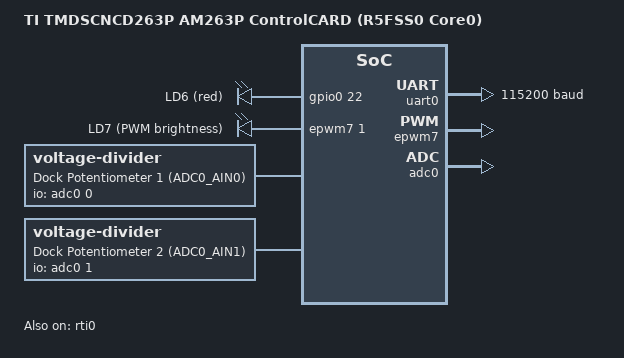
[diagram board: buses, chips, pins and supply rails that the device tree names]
/*
 * Copyright (c) 2026
 *
 * SPDX-License-Identifier: Apache-2.0
 *
 * TI TMDSCNCD263P AM263P ControlCARD, R5FSS0 Core 0.
 *
 * All pin/LED/clock facts below are verified on this ControlCARD (not carried
 * over from the LaunchPad): UART0 console reaches the XDS110 COM port, and
 * LD6/LD7 blink via the GPIO driver. See CLAUDE.md for the source citations.
 */

/dts-v1/;

#include <zephyr/dt-bindings/gpio/gpio.h>
#include <zephyr/dt-bindings/pwm/pwm.h>
#include <ti/am263p4_r5f0_0.dtsi>

/ {
	model = "TI TMDSCNCD263P AM263P ControlCARD (R5FSS0 Core0)";
	compatible = "ti,tmdscncd263p-r5f-cluster-0-core-0";

	chosen {
		zephyr,sram = &sram;
		zephyr,sram1 = &atcm;
		zephyr,console = &uart0;
		zephyr,shell-uart = &uart0;
	};

	aliases {
		led0 = &led_ld6;
		/* LD7 is driven by ePWM (see &led_ld7_pwm), not GPIO. */

		/* Built-in potentiometers on the TMDSHSECDOCK-AM263 (SPRUJ73) dock.
		 * Pot1 → ADC0_AIN0, Pot2 → ADC0_AIN1 (via HSEC).
		 * See dock headers J18/J65 (Pot1) and J22/J66 (Pot2).
		 * Default jumpers (pots through op-amps): J18 2-3 + J65 1-2,
		 * J22 2-3 + J66 1-2.
		 */
		potentiometer0 = &dock_pot0;
		potentiometer1 = &dock_pot1;
	};

	leds {
		compatible = "gpio-leds";

		led_ld6: led_0 {
			/* Active-HIGH: measured on hardware (the LEDs light when the
			 * pin is HIGH, contradicting the SPRUJ86/datasheet "active-LOW"
			 * note — confirmed by LD7's ePWM polarity + LD6/LD7 blinking in
			 * sync when LD6 was declared active-LOW). See CLAUDE.md. */
			gpios = <&gpio0 22 GPIO_ACTIVE_HIGH>;
			label = "LD6 (red)";
		};
	};

	/*
	 * Only LD7 supports hardware PWM. Its pad (EPWM7_B, 0x531000e8) routes
	 * EPWM7_B at mux mode 0 (datasheet SPRSP81 Table 5-1). LD6's pad
	 * (LIN2_TXD, 0x53100058) has NO ePWM mux option at all, so LD6 is
	 * GPIO-only — there is no led_ld6_pwm.
	 *
	 * channel 1 = EPWMxB. PWM_POLARITY_NORMAL: measured on hardware, LD7 on
	 * the EPWM7_B pin is brightness-proportional with normal polarity (duty%
	 * = LED-on time, CMP=pulse; 100% = full on, 0% = off). I.e. this pin
	 * behaves active-HIGH under ePWM, unlike LD6 as active-LOW GPIO — verified
	 * by the blink pwmdump/brightness sweep, see CLAUDE.md ePWM ledger.
	 * 250 us = 4 kHz carrier (flicker-free; 250 us x 200 MHz = 50000 < 65535).
	 */
	pwmleds {
		compatible = "pwm-leds";
		led_ld7_pwm: pwm_led_0 {
			pwms = <&epwm7 1 PWM_USEC(250) PWM_POLARITY_NORMAL>;
			label = "LD7 (PWM brightness)";
		};
	};

	/*
	 * Built-in 10 kΩ potentiometers on the TMDSHSECDOCK-AM263 dock (SPRUJ73).
	 * When the ControlCARD is plugged into the dock with the recommended
	 * jumpers, these appear as:
	 *   - dock_pot0 → ADC0_AIN0 (dock Pot1 via J18/J65)
	 *   - dock_pot1 → ADC0_AIN1 (dock Pot2 via J22/J66)
	 *
	 * See SPRUJ73 Table 2-11 and Figure 2-7 for jumper options
	 * (recommended: route pots through the on-dock OPA2837 op-amps).
	 */
	dock_pot0: dock_pot0 {
		compatible = "voltage-divider";
		io-channels = <&adc0 0>;
		io-channel-names = "DOCK_POT1";
		/* Pot wiper is a direct ADC input; 1:1 (output==full) = no scaling.
		 * Required by the voltage-divider binding; raw reads via &adc0 are
		 * what matter for bring-up. */
		output-ohms = <10000>;
		full-ohms = <10000>;
		label = "Dock Potentiometer 1 (ADC0_AIN0)";
	};

	dock_pot1: dock_pot1 {
		compatible = "voltage-divider";
		io-channels = <&adc0 1>;
		io-channel-names = "DOCK_POT2";
		output-ohms = <10000>;
		full-ohms = <10000>;
		label = "Dock Potentiometer 2 (ADC0_AIN1)";
	};
};

/*
 * UART0 -> XDS110 USB-UART console.
 *
 * Pad mux from datasheet SPRSP81 Table 5-1 (UART0 = mux mode 0 on both pads):
 *   UART0_RXD  ball A7  PADCONFIG 0x5310006c  (input)
 *   UART0_TXD  ball A6  PADCONFIG 0x53100070  (output)
 * Pad value bits: [3:0]=muxmode, [5:4]=force-input, [7:6]=force-output,
 * [8]=pull-disable. TX (0x100): mode0 + pull-disable; the UART subsystem
 * drives the output buffer (proven by the LED case). RX (0x110): mode0 +
 * force-input-enable + pull-disable.
 */
&pinctrl {
	uart0_rx_default: uart0_rx_default {
		pinmux = <0x5310006c 0x00000110>;
	};

	uart0_tx_default: uart0_tx_default {
		pinmux = <0x53100070 0x00000100>;
	};

	/*
	 * USER LED pads -> GPIO (mux mode 7), pull disabled. Value 0x107 =
	 * mode7 | pull-disable[8]; force-out left disabled so the GPIO DIR
	 * register drives the output. GPIO owner bits [17:16]=0 = R5SS0-core0.
	 * (CLAUDE.md verified-facts ledger; datasheet SPRSP81 Table 5-1.)
	 *   LD6/GPIO22 -> ball A8  LIN2_TXD  PADCONFIG 0x53100058
	 * (LD7's pad 0x531000e8 is muxed as EPWM7_B instead — see below.)
	 */
	led_ld6_default: led_ld6_default {
		pinmux = <0x53100058 0x00000107>;
	};

	/*
	 * LD7 pad as EPWM7_B output. Datasheet SPRSP81 Table 5-1: ball F1
	 * (EPWM7_B_CFG_REG 0x531000e8) selects EPWM7_B at mux mode 0. Value
	 * 0x100 = func_sel 0 | pull-disable[8] (Table 6-14 pad fields); the
	 * ePWM drives the output enable, so no force-out bits.
	 *
	 * (There is intentionally no LD6 ePWM entry: pad LIN2_TXD 0x53100058
	 * has no ePWM mux option — only LIN2_TXD/UART2_TXD/SPI2_D1/GPIO22.)
	 */
	led_ld7_pwm_default: led_ld7_pwm_default {
		pinmux = <0x531000e8 0x00000100>;
	};
};

&uart0 {
	status = "okay";
	current-speed = <115200>;
	pinctrl-0 = <&uart0_rx_default &uart0_tx_default>;
	pinctrl-names = "default";
};

/*
 * gpio0 = bank01 (signals 0..31) drives LD6/GPIO22. gpio1 (bank23, signals
 * 32..63) is left disabled: its only board consumer was LD7/GPIO58, which is
 * now owned by ePWM (EPWM7_B) for brightness control.
 */
&gpio0 {
	status = "okay";
	pinctrl-0 = <&led_ld6_default>;
	pinctrl-names = "default";
};

/*
 * EPWM7 drives LD7 (EPWM7_B) for hardware brightness. EPWM0 is intentionally
 * NOT enabled for LD6 — LD6's pad has no ePWM mux option (SPRSP81 Table 5-1),
 * so LD6 stays GPIO-only.
 */
&epwm7 {
	status = "okay";
	pinctrl-0 = <&led_ld7_pwm_default>;
	pinctrl-names = "default";
};

/* RTI0 — Zephyr system tick source. */
&rti0 {
	status = "okay";
};

/*
 * ADC0 (Phase 6). When used with the TMDSHSECDOCK-AM263 (SPRUJ73), the two
 * on-dock 10 kΩ potentiometers are connected to ADC0_AIN0 and ADC0_AIN1.
 *
 * Recommended dock jumper settings (pots → op-amps):
 *   J18 pins 2-3 + J65 pins 1-2   → dock_pot0 (ADC0 channel 0)
 *   J22 pins 2-3 + J66 pins 1-2   → dock_pot1 (ADC0 channel 1)
 *
 * See vendor-docs/spruj73-dock.pdf, Section 2.5.1 and Table 2-11.
 *
 * Software polling works with the current driver. No extra pinctrl is
 * required for the HSEC-routed ADC inputs in basic use.
 */
&adc0 {
	status = "okay";
};
